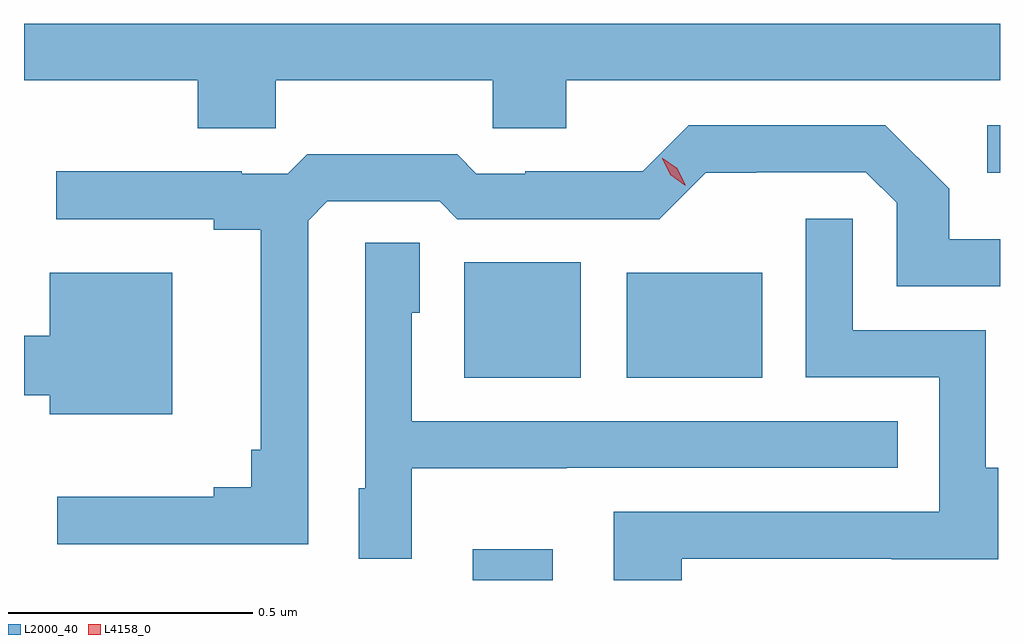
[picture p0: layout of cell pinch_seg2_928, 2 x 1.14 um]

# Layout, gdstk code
import gdstk
lib = gdstk.Library(unit=1e-6, precision=1e-09)
def R(c, l, rs):  # rectangles x0, y0, x1, y1
    for r in rs: c.add(gdstk.rectangle(r[:2], r[2:], *l))
def P(c, l, *ps):  # polygons
    for p in ps: c.add(gdstk.Polygon(p, *l))
L2000_40 = (2000, 40)
L4158_0 = (4158, 0)

pinch_seg2_928 = lib.new_cell('pinch_seg2_928')
R(pinch_seg2_928, L2000_40, [(427.073,665.26,427.237,665.323), (427.055,665.675,427.294,665.911), (427.388,665.675,427.666,665.89), (428.127,666.095,428.153,666.192)])
P(pinch_seg2_928, L2000_40, [(426.669,666.284),(427.114,666.284),(427.114,666.186),(427.264,666.186),(427.264,666.284),(428.153,666.284),(428.153,666.4),(426.153,666.4),(426.153,666.284),(426.509,666.284),(426.509,666.186),(426.669,666.186)],
  [(426.735,665.997),(426.774,666.036),(427.005,666.036),(427.041,666),(427.455,666),(427.55,666.095),(427.654,666.095),(427.654,666.096),(427.878,666.096),(427.941,666.033),(427.941,665.862),(428.153,665.862),(428.153,665.959),(428.049,665.959),(428.049,666.062),(427.918,666.192),(427.515,666.192),(427.421,666.098),(427.18,666.098),(427.18,666.093),(427.08,666.093),(427.041,666.133),(426.733,666.133),(426.693,666.093),(426.599,666.093),(426.599,666.098),(426.219,666.098),(426.219,666),(426.542,666),(426.542,665.978),(426.638,665.978),(426.638,665.527),(426.619,665.527),(426.619,665.45),(426.542,665.45),(426.542,665.431),(426.221,665.431),(426.221,665.334),(426.735,665.334)],
  [(427.501,665.304),(427.931,665.304),(427.931,665.303),(428.149,665.303),(428.149,665.49),(428.124,665.49),(428.124,665.772),(427.851,665.772),(427.851,666.001),(427.755,666.001),(427.755,665.676),(428.028,665.676),(428.028,665.4),(427.361,665.4),(427.361,665.26),(427.501,665.26)],
  [(426.948,665.489),(427.265,665.489),(427.265,665.49),(427.943,665.49),(427.943,665.586),(426.948,665.586),(426.948,665.808),(426.964,665.808),(426.964,665.951),(426.852,665.951),(426.852,665.448),(426.839,665.448),(426.839,665.304),(426.948,665.304)],
  [(426.457,665.89),(426.206,665.89),(426.206,665.761),(426.153,665.761),(426.153,665.639),(426.206,665.639),(426.206,665.6),(426.457,665.6)])
P(pinch_seg2_928, L4158_0, [(427.507,666.069),(427.477,666.091),(427.461,666.125),(427.461,666.125),(427.462,666.125),(427.492,666.104),(427.508,666.07),(427.508,666.069)])

lib.write_gds('pinch_seg2_928.gds')
